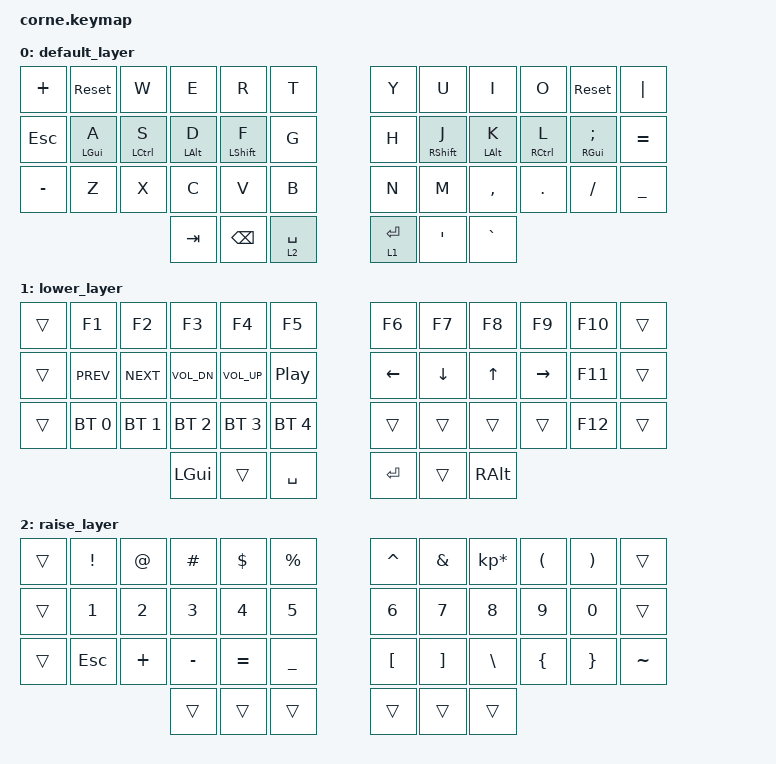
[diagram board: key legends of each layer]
/*
 * Copyright (c) 2020 The ZMK Contributors
 *
 * SPDX-License-Identifier: MIT
 */

#include <behaviors.dtsi>
#include <dt-bindings/zmk/keys.h>
#include <dt-bindings/zmk/bt.h>


/ {
behaviors {
        bhm: balanced_homerow_mods {
            compatible = "zmk,behavior-hold-tap";
            label = "HOMEROW_MODS";
            #binding-cells = <2>;
            tapping-term-ms = <150>;    // <---[[moderate duration]]
            quick-tap-ms = <0>;
            flavor = "balanced";
            bindings = <&kp>, <&kp>;
        };
    };
    keymap {
                compatible = "zmk,keymap";

                default_layer {
// -----------------------------------------------------------------------------------------
// |  TAB |  Q  |  W  |  E  |  R  |  T  |   |  Y  |  U   |  I  |  O  |  P  | BKSP |
// | CTRL |  A  |  S  |  D  |  F  |  G  |   |  H  |  J   |  K  |  L  |  ;  |  '   |
// | SHFT |  Z  |  X  |  C  |  V  |  B  |   |  N  |  M   |  ,  |  .  |  /  | ESC  |
//                    | GUI | LWR | SPC |   | ENT | RSE  | ALT |
                        bindings = <
   &kp PLUS   &sys_reset &kp W &kp E &kp R &kp T   &kp Y &kp U  &kp I     &kp O   &sys_reset    &kp PIPE
   &kp ESC  &bhm LGUI A &bhm LCTRL S &bhm LALT D &bhm LSHIFT F &kp G   &kp H &bhm RSHIFT J  &bhm LALT K  &bhm RCTRL L  &bhm RGUI SEMI &kp EQUAL
   &kp MINUS &kp Z &kp X &kp C &kp V &kp B   &kp N &kp M  &kp COMMA &kp DOT &kp FSLH &kp UNDER
                  &kp TAB &kp BSPC &lt 2 SPACE   &lt 1 RET &kp SQT &kp GRAVE
                        >;
                };
                lower_layer {
// -----------------------------------------------------------------------------------------
// |  TAB |  1  |  2  |  3  |  4  |  5  |   |  6  |  7  |  8  |  9  |  0  | BKSP |
// | BTCLR| BT1 | BT2 | BT3 | BT4 | BT5 |   | LFT | DWN |  UP | RGT |     |      |
// | SHFT |     |     |     |     |     |   |     |     |     |     |     |      |
//                    | GUI |     | SPC |   | ENT |     | ALT |
                        bindings = <
   &trans   &kp F1       &kp F2       &kp F3       &kp F4       &kp F5         &kp F6   &kp F7   &kp F8 &kp F9    &kp F10 &trans
   &trans   &kp C_PREV  &kp C_NEXT   &kp C_VOL_DN &kp C_VOL_UP   &kp C_PP   &kp LEFT &kp DOWN &kp UP &kp RIGHT &kp F11 &trans
   &trans   &bt BT_SEL 0 &bt BT_SEL 1 &bt BT_SEL 2 &bt BT_SEL 3 &bt BT_SEL 4         &trans   &trans   &trans &trans    &kp F12 &trans
                          	        &kp LGUI     &trans       &kp SPACE      &kp RET  &trans   &kp RALT
                        >;
                };

                raise_layer {
// -----------------------------------------------------------------------------------------
// |  TAB |  !  |  @  |  #  |  $  |  %  |   |  ^  |  &  |  *  |  (  |  )  | BKSP |
// | CTRL |     |     |     |     |     |   |  -  |  =  |  [  |  ]  |  \  |  `   |
// | SHFT |     |     |     |     |     |   |  _  |  +  |  {  |  }  | "|" |  ~   |
//                    | GUI |     | SPC |   | ENT |     | ALT |
                        bindings = <
   &trans  &kp EXCL &kp AT &kp HASH &kp DLLR &kp PRCNT   &kp CARET &kp AMPS  &kp KP_MULTIPLY &kp LPAR &kp RPAR &trans
   &trans  &kp N1   &kp N2 &kp N3   &kp N4   &kp N5      &kp N6 &kp N7 &kp N8  &kp N9 &kp N0 &trans
   &trans  &kp ESC   &kp PLUS &kp MINUS   &kp EQUAL   &kp UNDER      &kp LBKT &kp RBKT  &kp BSLH     &kp LBRC &kp RBRC &kp TILDE
                    	     &trans &trans   &trans   &trans   &trans    &trans
                        >;
                };
        };
};
